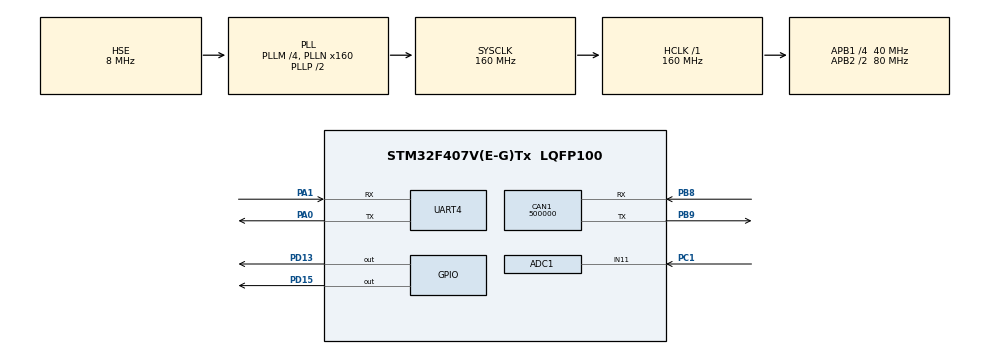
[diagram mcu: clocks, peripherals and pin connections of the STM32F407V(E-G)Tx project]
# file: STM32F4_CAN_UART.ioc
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ADC1.Channel-0\#ChannelRegularConversion=ADC_CHANNEL_11
ADC1.ContinuousConvMode=ENABLE
ADC1.DMAContinuousRequests=ENABLE
ADC1.NbrOfConversionFlag=1
ADC1.Rank-0\#ChannelRegularConversion=1
ADC1.SamplingTime-0\#ChannelRegularConversion=ADC_SAMPLETIME_480CYCLES
ADC1.ScanConvMode=ENABLE
ADC1.master=1
CAN1.BS1=CAN_BS1_2TQ
CAN1.BS2=CAN_BS2_2TQ
CAN1.CalculateBaudRate=500000
CAN1.CalculateTimeBit=2000
CAN1.CalculateTimeQuantum=400.0
Dma.ADC1.0.Direction=DMA_PERIPH_TO_MEMORY
Dma.ADC1.0.FIFOMode=DMA_FIFOMODE_DISABLE
Dma.ADC1.0.Instance=DMA2_Stream0
Dma.ADC1.0.MemDataAlignment=DMA_MDATAALIGN_WORD
Dma.ADC1.0.MemInc=DMA_MINC_ENABLE
Dma.ADC1.0.Mode=DMA_CIRCULAR
Dma.ADC1.0.PeriphDataAlignment=DMA_PDATAALIGN_WORD
Dma.ADC1.0.PeriphInc=DMA_PINC_DISABLE
Dma.ADC1.0.Priority=DMA_PRIORITY_LOW
Dma.Request0=ADC1
Mcu.Family=STM32F4
Mcu.Name=STM32F407V(E-G)Tx
Mcu.Package=LQFP100
NVIC.ADC_IRQn=true\:0\:0\:false\:false\:true\:true\:true\:true
NVIC.CAN1_RX0_IRQn=true\:0\:0\:false\:false\:true\:true\:true\:true
NVIC.CAN1_RX1_IRQn=true\:0\:0\:false\:false\:true\:true\:true\:true
NVIC.DMA2_Stream0_IRQn=true\:0\:0\:false\:false\:true\:false\:true\:true
NVIC.PriorityGroup=NVIC_PRIORITYGROUP_4
NVIC.UART4_IRQn=true\:0\:0\:false\:false\:true\:true\:true\:true
PA0-WKUP.Mode=Asynchronous
PA0-WKUP.Signal=UART4_TX
PA1.Mode=Asynchronous
PA1.Signal=UART4_RX
PA13.Mode=Serial_Wire
PA13.Signal=SYS_JTMS-SWDIO
PA14.Mode=Serial_Wire
PA14.Signal=SYS_JTCK-SWCLK
PB8.Mode=CAN_Activate
PB8.Signal=CAN1_RX
PB9.Mode=CAN_Activate
PB9.Signal=CAN1_TX
PC1.Signal=ADCx_IN11
PD13.Signal=GPIO_Output
PD15.Signal=GPIO_Output
PH0-OSC_IN.Mode=HSE-External-Oscillator
PH0-OSC_IN.Signal=RCC_OSC_IN
PH1-OSC_OUT.Mode=HSE-External-Oscillator
PH1-OSC_OUT.Signal=RCC_OSC_OUT
ProjectManager.HeapSize=0x200
ProjectManager.StackSize=0x400
ProjectManager.TargetToolchain=MDK-ARM V5.32
RCC.48MHZClocksFreq_Value=80000000
RCC.AHBFreq_Value=160000000
RCC.APB1CLKDivider=RCC_HCLK_DIV4
RCC.APB1Freq_Value=40000000
RCC.APB1TimFreq_Value=80000000
RCC.APB2CLKDivider=RCC_HCLK_DIV2
RCC.APB2Freq_Value=80000000
RCC.APB2TimFreq_Value=160000000
RCC.CortexFreq_Value=160000000
RCC.HCLKFreq_Value=160000000
RCC.HSE_VALUE=8000000
RCC.HSI_VALUE=16000000
RCC.LSE_VALUE=32768
RCC.PLLM=4
RCC.PLLN=160
RCC.PLLSourceVirtual=RCC_PLLSOURCE_HSE
RCC.SYSCLKFreq_VALUE=160000000
RCC.SYSCLKSource=RCC_SYSCLKSOURCE_PLLCLK
RCC.VCOOutputFreq_Value=320000000
SH.ADCx_IN11.0=ADC1_IN11,IN11
UART4.VirtualMode=Asynchronous
board=custom

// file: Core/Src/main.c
/* USER CODE BEGIN Header */
/**
  ******************************************************************************
  * @file           : main.c
  * @brief          : Main program body
  ******************************************************************************
  * @attention
  *
  * Copyright (c) 2023 STMicroelectronics.
  * All rights reserved.
  *
  * This software is licensed under terms that can be found in the LICENSE file
  * in the root directory of this software component.
  * If no LICENSE file comes with this software, it is provided AS-IS.
  *
  ******************************************************************************
  */
/* USER CODE END Header */
#include "main.h"

ADC_HandleTypeDef hadc1;
DMA_HandleTypeDef hdma_adc1;

CAN_HandleTypeDef hcan1;

UART_HandleTypeDef huart4;

void SystemClock_Config(void);
static void MX_GPIO_Init(void);
static void MX_DMA_Init(void);
static void MX_CAN1_Init(void);
static void MX_ADC1_Init(void);
static void MX_UART4_Init(void);
void int2str4(uint16_t adc, uint8_t *y);
int str2int4(uint8_t *y);
int str2int5(uint8_t *y);
void int2str5(int a, uint8_t *y);
/* USER CODE BEGIN PFP */
CAN_TxHeaderTypeDef TxHeader;
CAN_RxHeaderTypeDef RxHeader;

uint8_t TxData[4];
uint8_t RxData[4];
uint32_t TxMailbox;

uint8_t sent[50];
uint8_t rsp[50];
float vola,volb; int volaa,dac;

void HAL_CAN_RxFifo0MsgPendingCallback(CAN_HandleTypeDef *hcan)
{
	HAL_CAN_GetRxMessage(hcan, CAN_RX_FIFO0, &RxHeader, RxData);
	int adc = str2int4(RxData);
	vola = adc/4095.0*300.0;
	volaa = vola / 1;
	int2str5(volaa,sent);
}
/* USER CODE END PFP */

int main(void)
{

  /* MCU Configuration--------------------------------------------------------*/

  /* Reset of all peripherals, Initializes the Flash interface and the Systick. */
  HAL_Init();

  /* Configure the system clock */
  SystemClock_Config();

  /* Initialize all configured peripherals */
  MX_GPIO_Init();
  MX_DMA_Init();
  MX_CAN1_Init();
  MX_ADC1_Init();
  MX_UART4_Init();
  /* USER CODE BEGIN 2 */
	//HAL_ADC_Start_DMA(&hadc1, &adc_value, 1);

	HAL_CAN_Start(&hcan1);
  HAL_CAN_ActivateNotification(&hcan1, CAN_IT_RX_FIFO0_MSG_PENDING);

  TxHeader.DLC = 4;  // data length
  TxHeader.IDE = CAN_ID_STD;
  TxHeader.RTR = CAN_RTR_DATA;
  TxHeader.StdId = 0x446;  // ID

	//uint8_t cmd[] = "3.21 ";
  /* USER CODE END 2 */

  /* Infinite loop */
  while (1)
  {
		HAL_UART_Transmit(&huart4, sent, 5, 1000);
		HAL_UART_Receive(&huart4,rsp, sizeof(rsp), 1000);
		volb = str2int5(rsp)/100.0;
		dac = (volb/3.05*4095.0)/1;
		int2str4(dac, TxData);
		HAL_CAN_AddTxMessage(&hcan1, &TxHeader, TxData, &TxMailbox);
  }
}

void int2str5(int a, uint8_t *y)
{
	y[4] = ' ';
	y[0] = a / 100 + 0x30;
	y[1] = '.';
	a = a % 100;
	y[2] = a / 10 + 0x30;
	y[3] = a % 10 + 0x30;
}

void int2str4(uint16_t adc, uint8_t *y)
{

   	y[0] = adc / 1000 + 0x30;
		adc = adc % 1000;
		y[1] = adc / 100 + 0x30;
		adc = adc % 100;
		y[2] = adc / 10 + 0x30;
		y[3] = adc % 10 + 0x30;
}

int str2int5(uint8_t y[])
{
	int a;
	a = (y[0] - 0x30)*100 + (y[2] - 0x30)*10 + (y[3] - 0x30);
	return a;
}

int str2int4(uint8_t y[])
{
	int a;
	a = (y[0] - 0x30)*1000 + (y[1] - 0x30)*100 + (y[2] - 0x30)*10 + (y[3] - 0x30);
	return a;
}

void SystemClock_Config(void)
{
  RCC_OscInitTypeDef RCC_OscInitStruct = {0};
  RCC_ClkInitTypeDef RCC_ClkInitStruct = {0};

  /** Configure the main internal regulator output voltage
  */
  __HAL_RCC_PWR_CLK_ENABLE();
  __HAL_PWR_VOLTAGESCALING_CONFIG(PWR_REGULATOR_VOLTAGE_SCALE1);

  /** Initializes the RCC Oscillators according to the specified parameters
  * in the RCC_OscInitTypeDef structure.
  */
  RCC_OscInitStruct.OscillatorType = RCC_OSCILLATORTYPE_HSE;
  RCC_OscInitStruct.HSEState = RCC_HSE_ON;
  RCC_OscInitStruct.PLL.PLLState = RCC_PLL_ON;
  RCC_OscInitStruct.PLL.PLLSource = RCC_PLLSOURCE_HSE;
  RCC_OscInitStruct.PLL.PLLM = 4;
  RCC_OscInitStruct.PLL.PLLN = 160;
  RCC_OscInitStruct.PLL.PLLP = RCC_PLLP_DIV2;
  RCC_OscInitStruct.PLL.PLLQ = 4;
  if (HAL_RCC_OscConfig(&RCC_OscInitStruct) != HAL_OK)
  {
    Error_Handler();
  }

  /** Initializes the CPU, AHB and APB buses clocks
  */
  RCC_ClkInitStruct.ClockType = RCC_CLOCKTYPE_HCLK|RCC_CLOCKTYPE_SYSCLK
                              |RCC_CLOCKTYPE_PCLK1|RCC_CLOCKTYPE_PCLK2;
  RCC_ClkInitStruct.SYSCLKSource = RCC_SYSCLKSOURCE_PLLCLK;
  RCC_ClkInitStruct.AHBCLKDivider = RCC_SYSCLK_DIV1;
  RCC_ClkInitStruct.APB1CLKDivider = RCC_HCLK_DIV4;
  RCC_ClkInitStruct.APB2CLKDivider = RCC_HCLK_DIV2;

  if (HAL_RCC_ClockConfig(&RCC_ClkInitStruct, FLASH_LATENCY_5) != HAL_OK)
  {
    Error_Handler();
  }
}

static void MX_ADC1_Init(void)
{

  ADC_ChannelConfTypeDef sConfig = {0};

  /** Configure the global features of the ADC (Clock, Resolution, Data Alignment and number of conversion)
  */
  hadc1.Instance = ADC1;
  hadc1.Init.ClockPrescaler = ADC_CLOCK_SYNC_PCLK_DIV4;
  hadc1.Init.Resolution = ADC_RESOLUTION_12B;
  hadc1.Init.ScanConvMode = ENABLE;
  hadc1.Init.ContinuousConvMode = ENABLE;
  hadc1.Init.DiscontinuousConvMode = DISABLE;
  hadc1.Init.ExternalTrigConvEdge = ADC_EXTERNALTRIGCONVEDGE_NONE;
  hadc1.Init.ExternalTrigConv = ADC_SOFTWARE_START;
  hadc1.Init.DataAlign = ADC_DATAALIGN_RIGHT;
  hadc1.Init.NbrOfConversion = 1;
  hadc1.Init.DMAContinuousRequests = ENABLE;
  hadc1.Init.EOCSelection = ADC_EOC_SINGLE_CONV;
  if (HAL_ADC_Init(&hadc1) != HAL_OK)
  {
    Error_Handler();
  }

  /** Configure for the selected ADC regular channel its corresponding rank in the sequencer and its sample time.
  */
  sConfig.Channel = ADC_CHANNEL_11;
  sConfig.Rank = 1;
  sConfig.SamplingTime = ADC_SAMPLETIME_480CYCLES;
  if (HAL_ADC_ConfigChannel(&hadc1, &sConfig) != HAL_OK)
  {
    Error_Handler();
  }

}

static void MX_CAN1_Init(void)
{

  hcan1.Instance = CAN1;
  hcan1.Init.Prescaler = 16;
  hcan1.Init.Mode = CAN_MODE_NORMAL;
  hcan1.Init.SyncJumpWidth = CAN_SJW_1TQ;
  hcan1.Init.TimeSeg1 = CAN_BS1_2TQ;
  hcan1.Init.TimeSeg2 = CAN_BS2_2TQ;
  hcan1.Init.TimeTriggeredMode = DISABLE;
  hcan1.Init.AutoBusOff = DISABLE;
  hcan1.Init.AutoWakeUp = DISABLE;
  hcan1.Init.AutoRetransmission = DISABLE;
  hcan1.Init.ReceiveFifoLocked = DISABLE;
  hcan1.Init.TransmitFifoPriority = DISABLE;
  if (HAL_CAN_Init(&hcan1) != HAL_OK)
  {
    Error_Handler();
  }
  /* USER CODE BEGIN CAN1_Init 2 */
	CAN_FilterTypeDef canfilterconfig;

  canfilterconfig.FilterActivation = CAN_FILTER_ENABLE;
  canfilterconfig.FilterBank = 10;  // anything between 0 to SlaveStartFilterBank
  canfilterconfig.FilterFIFOAssignment = CAN_RX_FIFO0;
  canfilterconfig.FilterIdHigh = 0x103<<5;
  canfilterconfig.FilterIdLow = 0x0000;
  canfilterconfig.FilterMaskIdHigh = 0x103<<5;
  canfilterconfig.FilterMaskIdLow = 0x0000;
  canfilterconfig.FilterMode = CAN_FILTERMODE_IDMASK;
  canfilterconfig.FilterScale = CAN_FILTERSCALE_32BIT;
  canfilterconfig.SlaveStartFilterBank = 0;  // 13 to 27 are assigned to slave CAN (CAN 2) OR 0 to 12 are assgned to CAN1

  HAL_CAN_ConfigFilter(&hcan1, &canfilterconfig);
  /* USER CODE END CAN1_Init 2 */

}

static void MX_UART4_Init(void)
{

  huart4.Instance = UART4;
  huart4.Init.BaudRate = 115200;
  huart4.Init.WordLength = UART_WORDLENGTH_8B;
  huart4.Init.StopBits = UART_STOPBITS_1;
  huart4.Init.Parity = UART_PARITY_NONE;
  huart4.Init.Mode = UART_MODE_TX_RX;
  huart4.Init.HwFlowCtl = UART_HWCONTROL_NONE;
  huart4.Init.OverSampling = UART_OVERSAMPLING_16;
  if (HAL_UART_Init(&huart4) != HAL_OK)
  {
    Error_Handler();
  }

}

static void MX_DMA_Init(void)
{

  /* DMA controller clock enable */
  __HAL_RCC_DMA2_CLK_ENABLE();

  /* DMA interrupt init */
  /* DMA2_Stream0_IRQn interrupt configuration */
  HAL_NVIC_SetPriority(DMA2_Stream0_IRQn, 0, 0);
  HAL_NVIC_EnableIRQ(DMA2_Stream0_IRQn);

}

static void MX_GPIO_Init(void)
{
  GPIO_InitTypeDef GPIO_InitStruct = {0};

  /* GPIO Ports Clock Enable */
  __HAL_RCC_GPIOH_CLK_ENABLE();
  __HAL_RCC_GPIOC_CLK_ENABLE();
  __HAL_RCC_GPIOA_CLK_ENABLE();
  __HAL_RCC_GPIOD_CLK_ENABLE();
  __HAL_RCC_GPIOB_CLK_ENABLE();

  /*Configure GPIO pin Output Level */
  HAL_GPIO_WritePin(GPIOD, GPIO_PIN_13|GPIO_PIN_15, GPIO_PIN_RESET);

  /*Configure GPIO pins : PD13 PD15 */
  GPIO_InitStruct.Pin = GPIO_PIN_13|GPIO_PIN_15;
  GPIO_InitStruct.Mode = GPIO_MODE_OUTPUT_PP;
  GPIO_InitStruct.Pull = GPIO_NOPULL;
  GPIO_InitStruct.Speed = GPIO_SPEED_FREQ_LOW;
  HAL_GPIO_Init(GPIOD, &GPIO_InitStruct);

}

void Error_Handler(void)
{
  __disable_irq();
  while (1)
  {
  }
}
